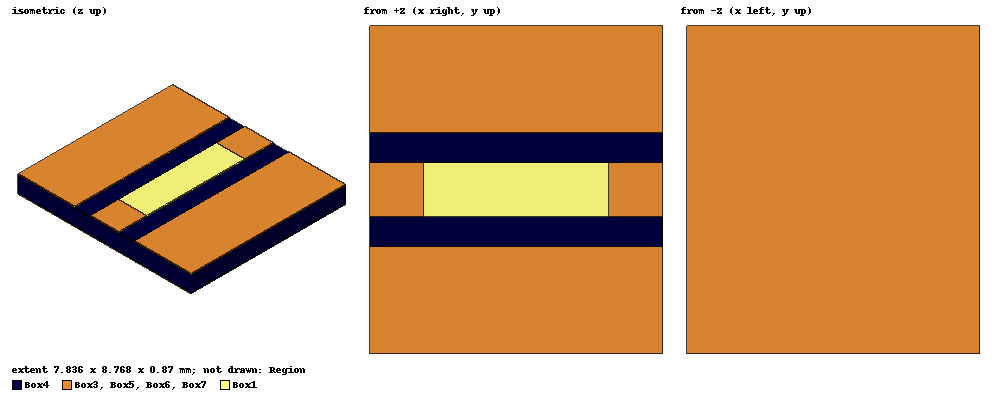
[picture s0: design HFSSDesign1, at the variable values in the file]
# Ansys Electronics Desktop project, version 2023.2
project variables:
  $l = (19.8501/4) mm
  $w = 1.43679mm
  $t = 0.035mm
  $clearance = 0.792032mm
  $h = 0.8mm
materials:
  FR4_epoxy: permittivity=4.4 dielectric_loss_tangent=0.02
  air: permittivity=1.0006 permeability=1.0000004
  copper: permeability=0.999991 conductivity=58000000
  vacuum: permittivity=1

design HFSSDesign1 (HFSS, HFSS Terminal Network, model units mm)
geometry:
  Box1 [copper] = box(corner=(-$l/2, -$w/2, 0mm), size=($l, $w, $t))
  Box2 = box(corner=(-($l+2*$w)/2, -($w+2*$clearance)/2, 0mm), size=($l+2*$w, $w+2*$clearance, $t))
  Box3 [copper] = box(corner=(-($l+2*$w)/2, -(2*$clearance+5*$w)/2, 0mm), size=($l+2*$w, 2*$clearance+5*$w, $t))
  Box3.subtract(Box2)
  Box4 [FR4_epoxy] = box(corner=(-($l+2*$w)/2, -(5*$w+2*$clearance)/2, 0mm), size=($l+2*$w, 5*$w+2*$clearance, -$h))
  Box5 [copper] = box(corner=(-($l+2*$w)/2, -($w*5+$clearance*2)/2, -$h), size=($l+2*$w, $w*5+$clearance*2, -$t))
  Region [air] = region(absolute_offset=41.666mm+$l on all sides)
  Box6 [copper] = box(corner=($l/2, -$w/2, 0mm), size=($w, $w, $t))
  Box7 [copper] = box(corner=(-$l/2, -$w/2, 0mm), size=(-$w, $w, $t))
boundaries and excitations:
  PerfE1: Perfect E Objects=[Box1, Box3, Box5]
  Rad1: Radiation Objects=Region
  1: Lumped Port Faces=Box6.face(+z) LumpedPortType=Modal Modes{Mode1{IntLine{(3.9180525, 0, 0.035) -> (2499.4126mm, 0mm, 35mm)} CharImp=Zpi RenormImp=50ohm}} Impedance=50ohm
  2: Lumped Port Faces=Box7.face(+z) LumpedPortType=Modal Modes{Mode1{IntLine{(-2499.4126mm, 0mm, 35mm) -> (-3899.4224mm, 0mm, 35mm)} CharImp=Zpi RenormImp=50ohm}} Impedance=50ohm
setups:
  Setup1: HfssDriven Frequency=1.8GHz MaxDeltaS=0.02 MaximumPasses=20 MinimumPasses=1 MinimumConvergedPasses=1 PercentRefinement=30 BasisOrder=1 PortAccuracy=2 DrivenSolverType="Direct Solver"
    sweep Sweep: 0GHz to 3.6GHz, 400 points; Type=Interpolating InterpTolerance=0.5 InterpMaxSolns=250 MinSolvedFreq=0.01GHz PassivityErrorTolerance=0.0001
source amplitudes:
  1:1: 1V 0deg
  2:1: 0V 0deg
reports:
  Terminal S Parameter Plot 1: dB(St(1,1)) vs Freq on Setup1 : Sweep
  Terminal Z Parameter Plot 1: mag(Zt(1,1)) vs Freq on Setup1 : Sweep
  Terminal S Parameter Chart 1: St(1,1) on Setup1 : Sweep [Freq=all]

design Circuit1 (Circuit)
options: SParamCircuitDef IntegrationMethod=FFT
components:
  S5 = HFSSDesign3(nport_l="(19.8501/2) mm")
  U7 = Circuit2()
  port Port1 rz=50ohm iz=0ohm EnableNoise=false noisetemp=16.85cel
  port Port2 rz=50ohm iz=0ohm EnableNoise=false noisetemp=16.85cel
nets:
  net_2: S5.0, U7.1
  Port1: U7.0
  Port2: S5.1
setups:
  LinearFrequency: LinearFrequencyData(false, 0.1, false, "", false) SweepDefinition{Variable=Freq Data="LINC 0GHz 3.6GHz 401"}
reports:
  S Parameter Chart 1: S(Port1,Port1) on LinearFrequency : LinearFrequency [Freq=all]
  S Parameter Plot 1: dB(S(Port1,Port1)) vs Freq on LinearFrequency : LinearFrequency; markers m1 at 1.719GHz, MX1 at x=1.8e+09, MY1 at y=-10
  S-Parameters: S(Port1,Port1) on LinearFrequency : LinearFrequency [Freq=all]
  Z Parameter Table 1: mag(Z(Port1,Port1)) vs Freq on LinearFrequency : LinearFrequency
  S-Parameters1: S(Port1,Port1) on LinearFrequency : LinearFrequency [Freq=all]

design Circuit2 (Circuit)
options: SParamCircuitDef IntegrationMethod=FFT
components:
  C8 = CAP_(C=1.8pF)
  R9 = RES_(R=50ohm)
  L10 = IND_(L=3.9nH)
  port Port1 rz=50ohm iz=0ohm EnableNoise=false noisetemp=16.85cel
  port Port2 rz=50ohm iz=0ohm EnableNoise=false noisetemp=16.85cel
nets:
  net_1: R9.0, C8.1
  net_2: R9.1, L10.0
  Port1: C8.0
  Port2: L10.1
